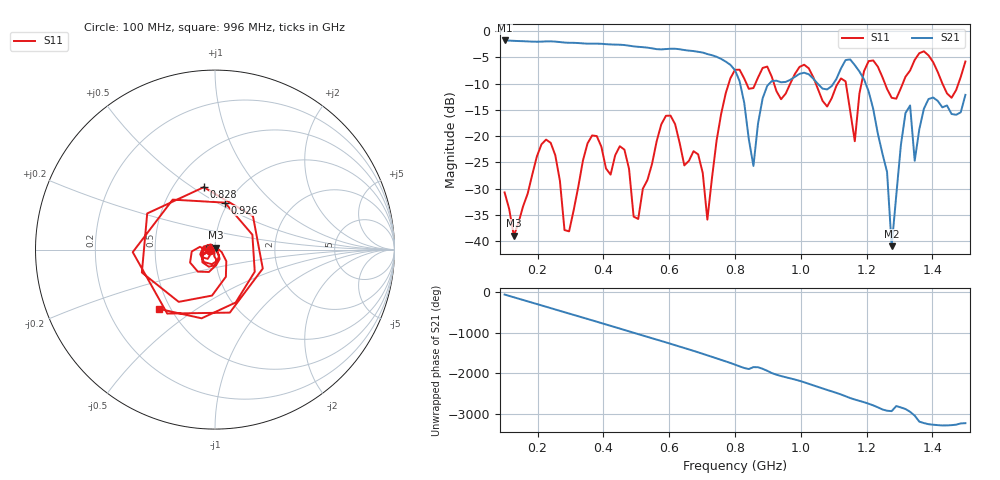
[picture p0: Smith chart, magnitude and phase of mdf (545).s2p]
! NanoVNA-App
! Date: 2025-09-25 15:42:39
! Start: 100MHz Stop: 1,5GHz Points: 101
! S-Parameter data: F S11 S21 S12 S22
# Hz S RI R 50
!  Frequency  S11_Real  S11_Imag  S21_Real  S21_Imag  S12_Real  S12_Imag  S22_Real  S22_Imag
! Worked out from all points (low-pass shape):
!   101 points, 100 MHz to 1.5 GHz, reference 50 ohm
!   highest |S21| = -1.80 dB at 100 MHz (marker M1); lowest = -41.0 dB at 1.276 GHz (marker M2)
!   |S21| within 3 dB of the highest: start of sweep to 739.1 MHz
!   lowest |S11| = -39.0 dB at 128 MHz (marker M3), VSWR 1.02, Z = 50.3 + j1.08 ohm
!   |S11| at or under -10 dB: start of sweep to 781 MHz; 1.045 GHz to 1.112 GHz (67.07 MHz wide, 6.22 % of centre); 1.256 GHz to 1.31 GHz (54.18 MHz wide, 4.22 % of centre) (the widest 3 of 7)
!   S12 and S22 are empty: the file has one direction only
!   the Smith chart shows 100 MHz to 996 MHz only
!   S11 on the Smith chart (normalised r, x): 100 MHz: 0.94, -0.01; 828 MHz: 0.70, +0.56; 926 MHz: 0.97, +0.54; 996 MHz: 0.43, -0.36
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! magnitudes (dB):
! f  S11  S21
! 100 MHz  -30.7  -1.8
! 128 MHz  -39.0  -1.9
! 212 MHz  -21.6  -2.0
! 282 MHz  -37.9  -2.2
! 338 MHz  -24.7  -2.4
! 464 MHz  -22.6  -2.7
! 506 MHz  -35.8  -3.0
! 576 MHz  -17.8  -3.5
! 716 MHz  -35.9  -4.4
! 800 MHz  -7.4  -7.5
! 828 MHz  -9.0  -13.7
! 856 MHz  -10.9  -25.7
! 926 MHz  -11.5  -9.5
! 996 MHz  -6.8  -8.2
! 1.038 GHz  -8.8  -9.1
! 1.164 GHz  -21.0  -6.5
! 1.192 GHz  -7.6  -9.2
! 1.262 GHz  -11.0  -26.8
! 1.276 GHz  -12.7  -41.0
! 1.318 GHz  -8.7  -15.6
! 1.346 GHz  -5.5  -24.7
! 1.5 GHz  -5.8  -12.2
